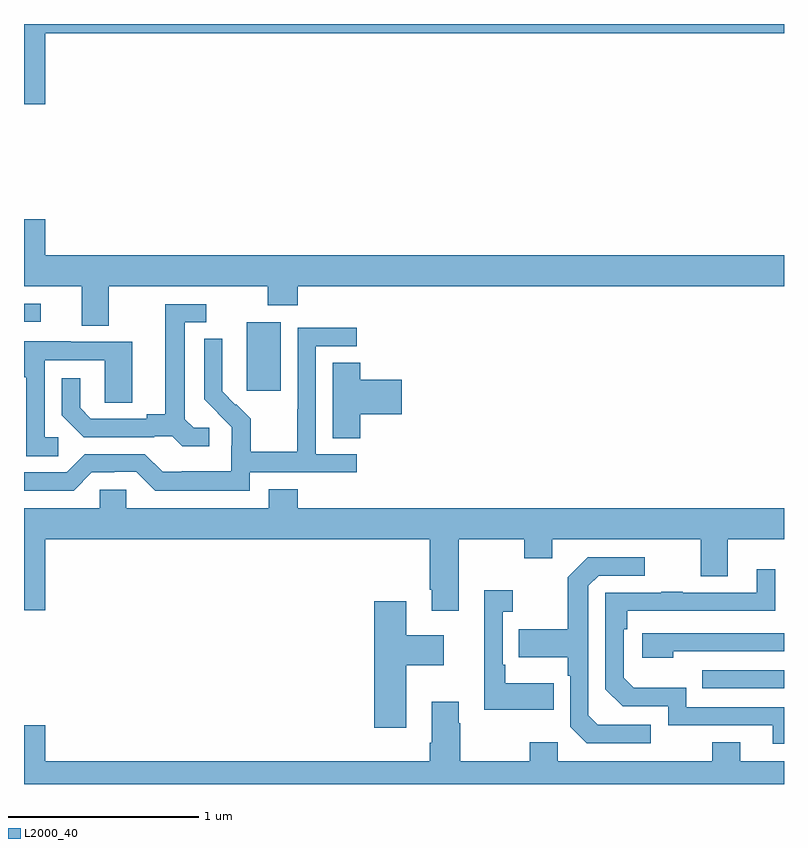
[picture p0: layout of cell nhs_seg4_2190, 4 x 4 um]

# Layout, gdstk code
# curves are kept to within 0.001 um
import gdstk
lib = gdstk.Library(unit=1e-6, precision=1e-09)
def R(c, l, rs):  # rectangles x0, y0, x1, y1
    for r in rs: c.add(gdstk.rectangle(r[:2], r[2:], *l))
def P(c, l, *ps):  # polygons
    for p in ps: c.add(gdstk.Polygon(p, *l))
L2000_40 = (2000, 40)

nhs_seg4_2190 = lib.new_cell('nhs_seg4_2190')
R(nhs_seg4_2190, L2000_40, [(228.571,761.403,229,761.499), (226.172,762.969,226.351,763.33), (225,763.332,225.088,763.428)])
P(nhs_seg4_2190, L2000_40, [(225.112,764.852),(229,764.852),(229,764.9),(225,764.9),(225,764.478),(225.112,764.478)],
  [(225.445,763.52),(226.282,763.52),(226.282,763.421),(226.442,763.421),(226.442,763.52),(229,763.52),(229,763.684),(225.112,763.684),(225.112,763.873),(225,763.873),(225,763.52),(225.305,763.52),(225.305,763.312),(225.445,763.312)],
  [(225.976,762.774),(225.894,762.774),(225.847,762.821),(225.847,763.329),(225.958,763.329),(225.958,763.425),(225.743,763.425),(225.743,762.845),(225.647,762.845),(225.647,762.822),(225.352,762.822),(225.295,762.879),(225.295,763.036),(225.198,763.036),(225.198,762.842),(225.314,762.726),(225.686,762.726),(225.686,762.729),(225.78,762.729),(225.832,762.677),(225.976,762.677)],
  [(226.188,762.54),(226.75,762.54),(226.75,762.636),(226.536,762.636),(226.536,763.203),(226.75,763.203),(226.75,763.302),(226.44,763.302),(226.44,762.872),(226.438,762.872),(226.438,762.649),(226.193,762.649),(226.193,762.823),(226.116,762.9),(226.113,762.897),(226.043,762.968),(226.044,763.244),(225.948,763.244),(225.948,762.926),(226.094,762.778),(226.094,762.681),(226.092,762.681),(226.092,762.547),(225.829,762.547),(225.829,762.543),(225.729,762.543),(225.636,762.636),(225.321,762.636),(225.225,762.54),(225,762.54),(225,762.444),(225.261,762.444),(225.357,762.54),(225.476,762.54),(225.476,762.543),(225.591,762.543),(225.691,762.443),(226.188,762.443)],
  [(225.181,762.726),(225.108,762.726),(225.108,763.131),(225.426,763.131),(225.426,762.907),(225.571,762.907),(225.571,763.227),(225.247,763.227),(225.247,763.231),(225,763.231),(225,763.041),(225.012,763.041),(225.012,762.625),(225.181,762.625)],
  [(226.769,762.845),(226.987,762.845),(226.987,763.028),(226.769,763.028),(226.769,763.118),(226.625,763.118),(226.625,762.721),(226.769,762.721)],
  [(227.287,762.188),(227.632,762.188),(227.632,762.089),(227.779,762.089),(227.779,762.188),(228.563,762.188),(228.563,761.994),(228.703,761.994),(228.703,762.188),(229,762.188),(229,762.352),(226.442,762.352),(226.442,762.451),(226.289,762.451),(226.289,762.352),(225.537,762.352),(225.537,762.45),(225.399,762.45),(225.399,762.352),(225,762.352),(225,761.814),(225.112,761.814),(225.112,762.188),(227.135,762.188),(227.135,761.923),(227.147,761.923),(227.147,761.811),(227.287,761.811)],
  [(228.298,761.211),(228.021,761.211),(227.97,761.262),(227.97,761.943),(228.024,761.997),(228.268,761.997),(228.268,762.093),(227.967,762.093),(227.862,761.987),(227.862,761.715),(227.605,761.715),(227.605,761.567),(227.862,761.567),(227.862,761.471),(227.874,761.471),(227.874,761.202),(227.961,761.115),(228.298,761.115)],
  [(229,761.304),(228.486,761.304),(228.486,761.407),(228.209,761.407),(228.156,761.46),(228.156,761.714),(228.176,761.714),(228.176,761.811),(228.953,761.812),(228.953,762.031),(228.857,762.031),(228.857,761.907),(228.467,761.907),(228.467,761.912),(228.355,761.912),(228.355,761.907),(228.06,761.907),(228.06,761.4),(228.15,761.31),(228.39,761.31),(228.39,761.208),(228.941,761.208),(228.941,761.112),(229,761.112)],
  [(227.789,761.431),(227.533,761.431),(227.533,761.527),(227.52,761.527),(227.52,761.807),(227.572,761.807),(227.572,761.92),(227.423,761.92),(227.423,761.291),(227.789,761.291)],
  [(227.011,761.525),(227.209,761.525),(227.209,761.683),(227.011,761.683),(227.011,761.863),(226.844,761.863),(226.844,761.196),(227.011,761.196)],
  [(228.416,761.598),(229,761.598),(229,761.694),(228.255,761.694),(228.255,761.564),(228.416,761.564)],
  [(229,761.02),(228.769,761.02),(228.769,761.119),(228.622,761.119),(228.622,761.02),(227.808,761.02),(227.808,761.119),(227.662,761.119),(227.662,761.02),(227.295,761.02),(227.295,761.219),(227.287,761.219),(227.287,761.332),(227.147,761.332),(227.147,761.116),(227.135,761.116),(227.135,761.02),(225.112,761.02),(225.112,761.209),(225,761.209),(225,760.9),(229,760.9)])

lib.write_gds('nhs_seg4_2190.gds')
